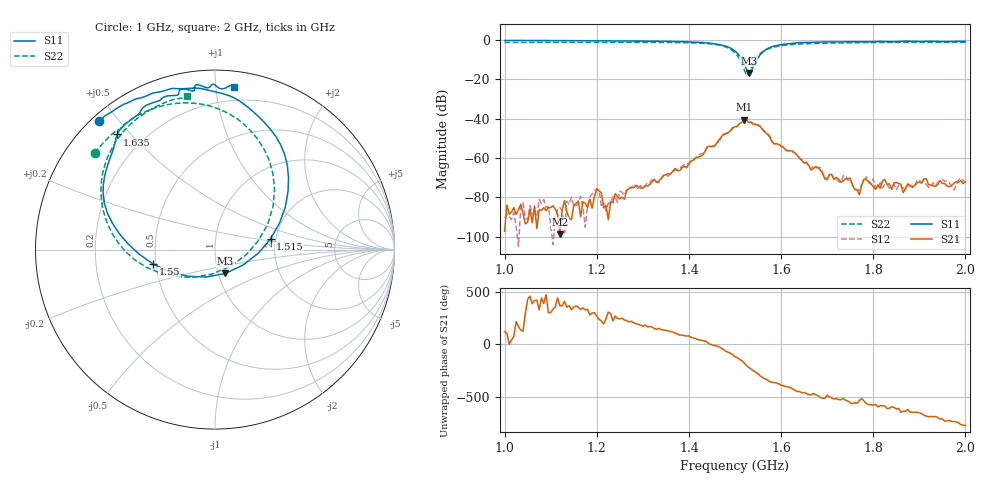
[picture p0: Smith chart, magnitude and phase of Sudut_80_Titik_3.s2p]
# Hz S RI R 50
! CMT, C1220, 16058040, 17.2.0/1
! Date: 14/08/2018 12:37:34
! Data: Format (Calibration Info)
! Freq  S11: Re/Im (F2)  S21: Re/Im (F2)  S12: Re/Im (F2)  S22: Re/Im (F2)
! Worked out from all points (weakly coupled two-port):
!   201 points, 1 GHz to 2 GHz, reference 50 ohm
!   highest |S21| = -40.51 dB at 1.52 GHz (marker M1); lowest = -98.7 dB at 1.12 GHz (marker M2)
!   lowest |S11| = -16.8 dB at 1.53 GHz (marker M3), VSWR 1.34, Z = 54 - j14.7 ohm
!   |S11| at or under -10 dB: 1.515 GHz to 1.547 GHz (32.54 MHz wide, 2.13 % of centre)
!   |S22| runs from -18.0 to -1.2 dB; largest |S21 - S12| = 0.00036
!   S11 on the Smith chart (normalised r, x): 1 GHz: 0.02, +0.44; 1.515 GHz: 1.87, +0.24; 1.55 GHz: 0.48, -0.09; 1.635 GHz: 0.10, +0.46; 2 GHz: 0.10, +1.12
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1e9  -0.6466 0.7145  -7.59e-06 1.17e-05  -2.86e-05 7.65e-06  -0.6704 0.5376
1.12e9  -0.5293 0.7981  1.15e-05 1.81e-06  3.1e-05 4.6e-05  -0.5987 0.6196
1.17e9  -0.4749 0.8234  7.6e-05 -1.46e-05  5.66e-05 -4.79e-06  -0.5592 0.6554
1.2e9  -0.4333 0.8411  -6.79e-07 -0.000166  3.7e-05 -0.000162  -0.5306 0.6695
1.26e9  -0.3428 0.8729  -5.45e-05 -7.16e-05  -3.91e-05 -0.000106  -0.4811 0.7162
1.335e9  -0.2127 0.8965  -0.000236 0.000118  -0.000205 0.000117  -0.3754 0.7735
1.45e9  0.1865 0.791  0.00193 -0.000167  0.00198 -0.000347  0.0179 0.7844
1.5e9  0.4072 0.3245  -0.00278 -0.00555  -0.00266 -0.00523  0.332 0.3338
1.515e9  0.3092 0.0588  -0.00739 -0.0032  -0.00738 -0.00341  0.242 0.0504
1.52e9  0.2398 -0.0212  -0.00941 -0.000579  -0.00942 -0.000664  0.171 -0.0317
1.53e9  0.0574 -0.1329  -0.00619 0.00509  -0.00623 0.00506  -0.0174 -0.1366
1.55e9  -0.3462 -0.0795  0.00125 0.00671  0.000941 0.00675  -0.3835 -0.0979
1.635e9  -0.5446 0.6415  1.74e-05 -0.00119  8.66e-05 -0.00116  -0.6107 0.4808
1.67e9  -0.4354 0.7474  -0.000158 -0.000522  -0.000219 -0.000577  -0.5654 0.5801
1.75e9  -0.2882 0.8487  -0.0003 7.52e-05  -0.000256 0.000101  -0.4607 0.7075
1.77e9  -0.2346 0.8582  -0.000118 -1.29e-05  -0.000149 4.23e-05  -0.4365 0.7278
1.78e9  -0.2112 0.8603  -0.000291 -5.11e-06  -0.000255 -1.29e-05  -0.4238 0.7377
1.835e9  -0.1279 0.8842  -8.47e-05 0.000204  -6.13e-05 0.00016  -0.3575 0.7814
1.865e9  -0.11 0.9146  1.47e-05 0.000132  1.82e-05 0.000176  -0.3217 0.8001
1.91e9  -0.0263 0.909  0.000204 0.000211  0.000177 0.000191  -0.2657 0.8252
1.975e9  0.0731 0.9079  0.00022 -5.75e-05  0.000138 -6.88e-05  -0.1827 0.843
2e9  0.1042 0.9064  0.000155 -0.000197  0.000104 -0.00022  -0.1581 0.8538
